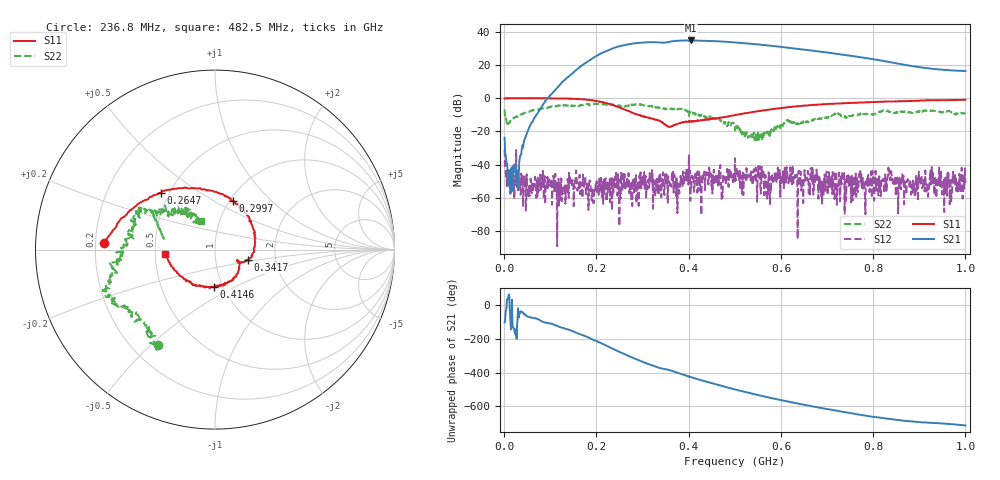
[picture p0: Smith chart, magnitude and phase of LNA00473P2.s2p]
! Created with skrf 1.9.0 (http://scikit-rf.org).
# Hz S RI R 50.0
!freq ReS11 ImS11 ReS21 ImS21 ReS12 ImS12 ReS22 ImS22
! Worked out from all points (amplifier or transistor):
!   1001 points, 1 MHz to 1 GHz, reference 50 ohm
!   highest |S21| = 34.9 dB at 404.6 MHz (marker M1)
!   |S21| within 3 dB of that: 257.4 MHz to 571.8 MHz (314.4 MHz wide, 75.8 % of centre)
!   unconditionally stable (mu >= 1): 320.8 MHz to 400.5 MHz; 400.8 MHz to 500.4 MHz; 500.6 MHz to end of sweep (the widest 3 of 36)
!   at 166.8 MHz: K = 2.01, MAG = 29.4 dB, |S12| = -51.0 dB
!   at 500.5 MHz: K = 0.94, MSG = 34.9 dB, |S12| = -36.2 dB
!   at 1 GHz: K = 4.71, MAG = 24.0 dB, |S12| = -51.0 dB
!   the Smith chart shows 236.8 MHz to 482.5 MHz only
!   S11 on the Smith chart (normalised r, x): 236.8 MHz: 0.24, +0.03; 264.7 MHz: 0.45, +0.36; 299.7 MHz: 1.04, +0.62; 341.7 MHz: 1.44, -0.18; 414.6 MHz: 0.91, -0.39; 482.5 MHz: 0.56, -0.03
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1000000  0.9833 0.00568  -0.0149 -0.0632  -0.0278 -0.00584  0.3015 0.3467
1.09891e8  0.5244 -0.8467  -0.8251 -1.515  0.00162 0.00238  0.4351 -0.3803
1.67833e8  -0.2035 -0.9124  -9.622 -0.7384  0.00136 -0.00217  0.0314 -0.6287
2.07793e8  -0.6488 -0.449  -15.96 14.76  0.00167 -0.000219  -0.2186 -0.6404
2.36764e8  -0.6164 0.0352  -5.463 32.15  -0.000908 0.00112  -0.3176 -0.5303
2.64736e8  -0.2998 0.318  17.6 37.5  -0.00108 -0.00261  -0.4748 -0.3401
2.99701e8  0.1001 0.2718  43.81 19.87  -0.00326 5.77e-05  -0.5878 -0.2157
3.17683e8  0.2041 0.1395  48.93 4.787  -0.0032 0.000263  -0.5652 -0.111
3.34666e8  0.2156 -0.0147  47.9 -8.768  -0.00166 0.00303  -0.5136 -0.00545
3.41659e8  0.1835 -0.0587  46.36 -12.8  -0.000231 0.0022  -0.5082 0.0115
3.71629e8  0.1369 -0.0838  43.3 -32.25  -0.00151 0.00277  -0.4231 0.1893
4.04596e8  0.0492 -0.1912  22.13 -51.07  0.000851 0.002  -0.3231 0.1881
4.14586e8  -0.00596 -0.2081  14.49 -53.31  0.0036 0.00354  -0.2578 0.1845
4.45555e8  -0.1569 -0.1718  -8.531 -53.04  0.00374 0.00322  -0.1619 0.208
4.82518e8  -0.279 -0.0256  -30.08 -40.57  0.00103 0.00324  -0.0795 0.1583
5.005e8  -0.3061 0.0851  -36.99 -31.59  0.015 0.00414  -0.0554 0.0925
5.4046e8  -0.2528 0.2973  -42.2 -10.34  0.00566 0.00231  -0.0779 0.0318
5.88412e8  -0.073 0.4793  -35.78 10.39  0.00449 -0.00265  -0.0957 -0.0532
6.67333e8  0.3059 0.542  -13.92 23.58  0.00311 -0.000202  -0.2175 -0.0238
7.53247e8  0.6161 0.3792  3.584 18.63  -0.0043 -0.000327  -0.2992 0.0428
8.34166e8  0.7819 0.1554  8.714 9.005  -0.00424 -0.00261  -0.3718 0.1262
1e9  0.8155 -0.3813  6.601 0.8595  -0.00231 -0.00163  -0.0767 0.3351
